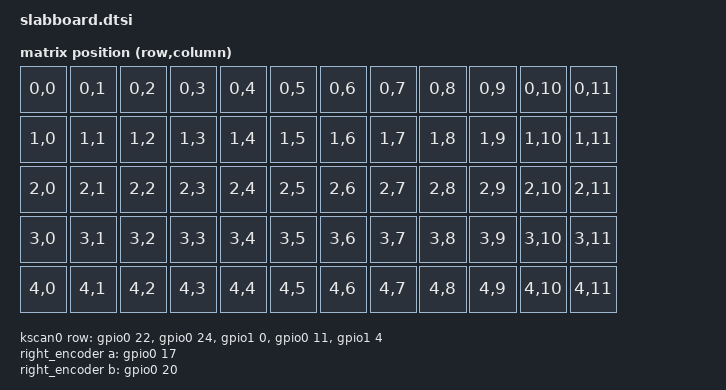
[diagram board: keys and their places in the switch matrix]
#include <dt-bindings/zmk/matrix_transform.h>
#include <physical_layouts.dtsi>
#include "slabboard-layouts.dtsi"

/ {
    chosen {
        zmk,physical-layout = &physical_layout0;
    };

    matrix_transform0: keymap_transform_0 {
        compatible = "zmk,matrix-transform";
        columns = <12>;
        rows = <5>;

        /* Full 5x6 grid per half, no gaps. Left is columns 0-5 (outer pinky
           to inner index); right is columns 6-11 (inner index to outer pinky),
           which is why the right half lists its col-gpios in reverse order. */
        map = <
	RC(0,0) RC(0,1) RC(0,2) RC(0,3) RC(0,4) RC(0,5)   RC(0,6) RC(0,7) RC(0,8) RC(0,9) RC(0,10) RC(0,11)
	RC(1,0) RC(1,1) RC(1,2) RC(1,3) RC(1,4) RC(1,5)   RC(1,6) RC(1,7) RC(1,8) RC(1,9) RC(1,10) RC(1,11)
	RC(2,0) RC(2,1) RC(2,2) RC(2,3) RC(2,4) RC(2,5)   RC(2,6) RC(2,7) RC(2,8) RC(2,9) RC(2,10) RC(2,11)
	RC(3,0) RC(3,1) RC(3,2) RC(3,3) RC(3,4) RC(3,5)   RC(3,6) RC(3,7) RC(3,8) RC(3,9) RC(3,10) RC(3,11)
	RC(4,0) RC(4,1) RC(4,2) RC(4,3) RC(4,4) RC(4,5)   RC(4,6) RC(4,7) RC(4,8) RC(4,9) RC(4,10) RC(4,11)
        >;
    };

    kscan0: kscan {
        compatible = "zmk,kscan-gpio-matrix";
        label = "KSCAN";
        diode-direction = "col2row";

        /* COL2ROW: columns are driven, rows are read. */
        row-gpios
            = <&gpio0 22 (GPIO_ACTIVE_HIGH | GPIO_PULL_DOWN)>   /* ROW 0  P0.22 */
            , <&gpio0 24 (GPIO_ACTIVE_HIGH | GPIO_PULL_DOWN)>   /* ROW 1  P0.24 */
            , <&gpio1  0 (GPIO_ACTIVE_HIGH | GPIO_PULL_DOWN)>   /* ROW 2  P1.00 */
            , <&gpio0 11 (GPIO_ACTIVE_HIGH | GPIO_PULL_DOWN)>   /* ROW 3  P0.11 */
            , <&gpio1  4 (GPIO_ACTIVE_HIGH | GPIO_PULL_DOWN)>   /* ROW 4  P1.04 */
            ;
    };

    right_encoder: encoder_right {
        compatible = "alps,ec11";
        a-gpios = <&gpio0 17 (GPIO_ACTIVE_HIGH | GPIO_PULL_UP)>;   /* EC12 A  P0.17 */
        b-gpios = <&gpio0 20 (GPIO_ACTIVE_HIGH | GPIO_PULL_UP)>;   /* EC12 B  P0.20 */
        steps = <30>;
        status = "disabled";
    };

    sensors: sensors {
        compatible = "zmk,keymap-sensors";
        sensors = <&right_encoder>;
        triggers-per-rotation = <30>;
    };
};
